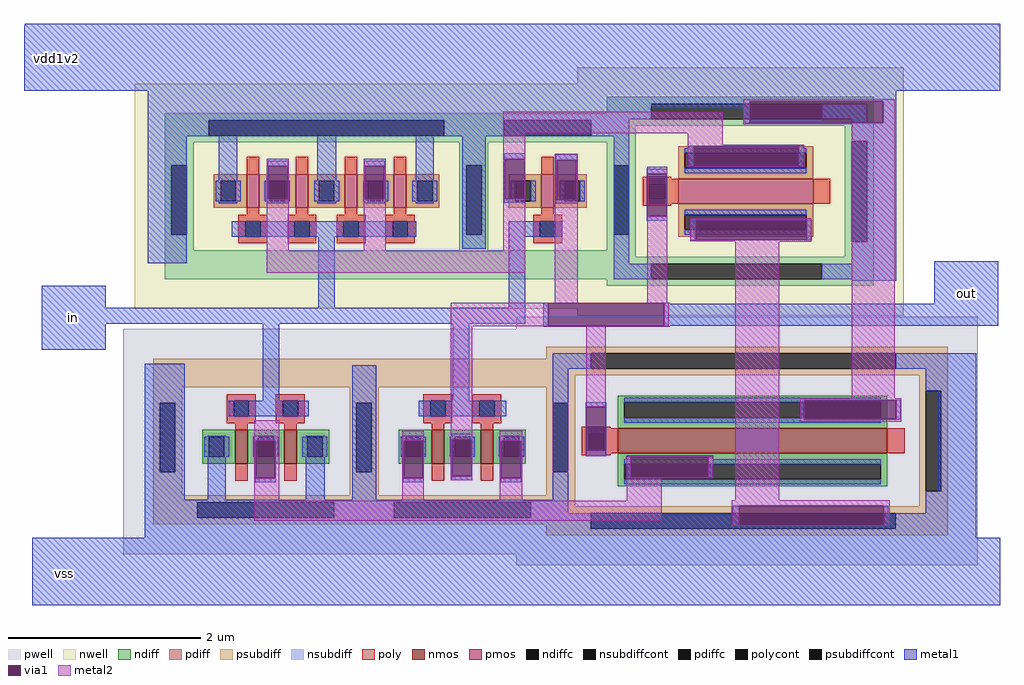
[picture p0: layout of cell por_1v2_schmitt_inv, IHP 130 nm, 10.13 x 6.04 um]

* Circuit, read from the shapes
.subckt por_1v2_schmitt_inv vdd1v2 in out vss
XM1 sg13_lv_nmos_GT3QPP_0/D in vss vss sg13_lv_nmos w=0.35u l=0.13u m=2
XM2 out in sg13_lv_nmos_GT3QPP_0/D vss sg13_lv_nmos w=0.35u l=0.13u m=2
XM3 vdd1v2 out sg13_lv_nmos_GT3QPP_0/D vss sg13_lv_nmos w=2.8u l=0.26u
XM4 sg13_lv_pmos_KE4EUN_0/D in vdd1v2 vdd1v2 sg13_lv_pmos w=0.35u l=0.13u m=4
XM5 out in sg13_lv_pmos_KE4EUN_0/D vdd1v2 sg13_lv_pmos w=0.35u l=0.13u
XM6 sg13_lv_pmos_KE4EUN_0/D out vss vdd1v2 sg13_lv_pmos w=1.4u l=0.26u
.ends

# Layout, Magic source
magic
tech ihp-sg13cmos5l
magscale 1 2
<< metal1 >>
rect 1058 206 3082 211
rect 1056 72 3082 206
rect 1313 50 2867 72
rect 1313 36 2563 50
rect 1313 -22 2312 36
rect 2552 6 2563 36
rect 2840 6 2867 50
rect 2552 5 2867 6
rect 1313 -286 1394 -22
rect 1460 -162 1499 -22
rect 1562 -85 1605 -73
rect 1562 -153 1563 -85
rect 1604 -153 1605 -85
rect 1562 -162 1605 -153
rect 1665 -162 1704 -22
rect 1762 -85 1805 -73
rect 1762 -153 1763 -85
rect 1804 -153 1805 -85
rect 1762 -162 1805 -153
rect 1869 -162 1907 -22
rect 1487 -231 1870 -199
rect 1093 -378 1226 -333
rect 1667 -378 1701 -231
rect 1966 -256 2014 -22
rect 2435 -43 2675 -42
rect 2053 -70 2097 -58
rect 2053 -152 2055 -70
rect 2095 -152 2097 -70
rect 2053 -161 2097 -152
rect 2160 -72 2204 -60
rect 2160 -154 2162 -72
rect 2202 -154 2204 -72
rect 2435 -85 2446 -43
rect 2664 -85 2675 -43
rect 2160 -163 2204 -154
rect 2349 -100 2391 -90
rect 2349 -189 2350 -100
rect 2390 -189 2391 -100
rect 2349 -198 2391 -189
rect 2439 -197 2691 -196
rect 2062 -231 2173 -199
rect 2062 -378 2096 -231
rect 2439 -237 2450 -197
rect 2681 -237 2691 -197
rect 2439 -238 2691 -237
rect 2774 -322 2867 5
rect 1093 -412 2096 -378
rect 2134 -369 2396 -368
rect 1093 -466 1226 -412
rect 1307 -777 1390 -495
rect 1552 -572 1586 -412
rect 1481 -604 1647 -572
rect 1437 -777 1475 -644
rect 1536 -655 1579 -644
rect 1536 -732 1537 -655
rect 1578 -732 1579 -655
rect 1536 -741 1579 -732
rect 1641 -777 1680 -644
rect 1737 -777 1787 -498
rect 1946 -572 1980 -412
rect 2134 -417 2144 -369
rect 2385 -370 2396 -369
rect 2945 -370 3078 -282
rect 2385 -416 3078 -370
rect 2385 -417 2396 -416
rect 2134 -418 2396 -417
rect 2665 -570 2876 -569
rect 1875 -604 2057 -572
rect 2222 -584 2265 -575
rect 1843 -655 1886 -644
rect 1843 -732 1844 -655
rect 1885 -732 1886 -655
rect 1843 -741 1886 -732
rect 1944 -651 1986 -640
rect 1944 -728 1945 -651
rect 1985 -728 1986 -651
rect 1944 -737 1986 -728
rect 2046 -655 2088 -644
rect 2046 -732 2047 -655
rect 2087 -732 2088 -655
rect 2222 -675 2223 -584
rect 2264 -675 2265 -584
rect 2665 -610 2676 -570
rect 2867 -610 2876 -570
rect 2665 -611 2876 -610
rect 2222 -687 2265 -675
rect 2305 -688 2486 -687
rect 2305 -730 2316 -688
rect 2476 -730 2486 -688
rect 2046 -741 2088 -732
rect 1307 -806 2160 -777
rect 2527 -790 2850 -789
rect 2527 -806 2541 -790
rect 1307 -830 2541 -806
rect 2841 -806 2850 -790
rect 2954 -806 3033 -473
rect 2841 -830 3033 -806
rect 1307 -856 3033 -830
rect 1073 -996 3082 -856
<< via1 >>
rect 2563 6 2840 50
rect 1563 -153 1604 -85
rect 1763 -153 1804 -85
rect 2055 -152 2095 -70
rect 2162 -154 2202 -72
rect 2446 -85 2664 -43
rect 2350 -189 2390 -100
rect 2450 -237 2681 -197
rect 1537 -732 1578 -655
rect 2144 -417 2385 -369
rect 1844 -732 1885 -655
rect 1945 -728 1985 -651
rect 2047 -732 2087 -655
rect 2223 -675 2264 -584
rect 2676 -610 2867 -570
rect 2316 -730 2476 -688
rect 2541 -830 2841 -790
<< metal2 >>
rect 2549 50 2864 54
rect 2051 -16 2506 28
rect 2549 6 2563 50
rect 2840 6 2864 50
rect 2549 2 2864 6
rect 1560 -85 1606 -69
rect 1560 -153 1563 -85
rect 1604 -153 1606 -85
rect 1560 -260 1606 -153
rect 1761 -85 1807 -69
rect 1761 -153 1763 -85
rect 1804 -153 1807 -85
rect 1761 -260 1807 -153
rect 2051 -70 2097 -16
rect 2434 -40 2506 -16
rect 2434 -43 2676 -40
rect 2051 -152 2055 -70
rect 2095 -152 2097 -70
rect 2051 -260 2097 -152
rect 1560 -306 2097 -260
rect 2158 -72 2205 -59
rect 2158 -154 2162 -72
rect 2202 -154 2205 -72
rect 2434 -85 2446 -43
rect 2664 -85 2676 -43
rect 2158 -368 2205 -154
rect 2350 -100 2391 -86
rect 2434 -87 2676 -85
rect 2390 -189 2391 -100
rect 2350 -368 2391 -189
rect 2439 -197 2690 -193
rect 2439 -237 2450 -197
rect 2681 -237 2690 -197
rect 2439 -240 2690 -237
rect 2532 -242 2690 -240
rect 1942 -369 2394 -368
rect 1942 -417 2144 -369
rect 2385 -417 2394 -369
rect 1534 -655 1586 -612
rect 1534 -732 1537 -655
rect 1578 -732 1586 -655
rect 1534 -779 1586 -732
rect 1841 -655 1886 -634
rect 1841 -732 1844 -655
rect 1885 -732 1886 -655
rect 1841 -779 1886 -732
rect 1942 -651 1987 -417
rect 2223 -584 2264 -417
rect 1942 -728 1945 -651
rect 1985 -728 1987 -651
rect 1942 -737 1987 -728
rect 2044 -655 2090 -634
rect 2044 -732 2047 -655
rect 2087 -732 2090 -655
rect 2223 -687 2264 -675
rect 2044 -779 2090 -732
rect 2307 -688 2487 -685
rect 2307 -730 2316 -688
rect 2476 -730 2487 -688
rect 2307 -732 2487 -730
rect 2307 -779 2380 -732
rect 2532 -778 2624 -242
rect 2774 -566 2864 2
rect 2667 -570 2877 -566
rect 2667 -610 2676 -570
rect 2867 -610 2877 -570
rect 2667 -615 2877 -610
rect 1534 -821 2380 -779
rect 2525 -790 2853 -778
rect 2525 -830 2541 -790
rect 2841 -830 2853 -790
rect 2525 -831 2853 -830
use sg13_lv_nmos_GT3QPP  sg13_lv_nmos_GT3QPP_0 primitives
transform 0 -1 2549 1 0 -655
box -258 -487 258 471
use sg13_lv_nmos_LT8DKY  sg13_lv_nmos_LT8DKY_0 primitives
transform 1 0 1558 0 1 -648
box -296 -242 296 226
use sg13_lv_nmos_LT8DKY  sg13_lv_nmos_LT8DKY_1
transform 1 0 1966 0 1 -648
box -296 -242 296 226
use sg13_lv_pmos_KE4EUN  sg13_lv_pmos_KE4EUN_0 primitives
transform 0 1 2535 -1 0 -137
box -258 -331 258 347
use sg13_lv_pmos_KPMAU6  sg13_lv_pmos_KPMAU6_0 primitives
transform 1 0 1684 0 1 -155
box -398 -226 398 242
use sg13_lv_pmos_RWAJH3  sg13_lv_pmos_RWAJH3_0 primitives
transform 1 0 2143 0 1 -155
box -245 -226 245 242
<< labels >>
flabel metal1 1093 -466 1226 -333 0 FreeSans 1066 0 0 0 in
port 1 nsew
flabel metal1 1074 -996 1207 -863 0 FreeSans 1066 0 0 0 vss
port 3 nsew
flabel metal1 1056 72 1189 206 0 FreeSans 1066 0 0 0 vdd1v2
port 0 nsew
flabel metal1 2945 -416 3078 -282 0 FreeSans 1066 0 0 0 out
port 2 nsew
<< end >>

# cell sg13_lv_nmos_GT3QPP: kit device sg13_lv_nmos, w 2.8 l 0.26 m 1 ng 1 diffcov 100 polycov 100 guard 1 glc 1 grc 1 gtc 0 gbc 1 tbcov 100 rlcov 100 topc 1 botc 0 poverlap 0 doverlap 1 lmin 0.13 wmin 0.15 class mosfet compatible {sg13_lv_nmos sg13_hv_nmos} full_metal 1 conn_gates 0 gate_ring 0 doports 1 viasrc 0 viadrn 0 viagate 0 ccols 1 viagb 0 viagr 0 viagl 0 viagt 0

# cell sg13_lv_nmos_LT8DKY: kit device sg13_lv_nmos, w 0.35 l 0.13 m 1 ng 2 diffcov 100 polycov 100 guard 1 glc 1 grc 1 gtc 0 gbc 1 tbcov 100 rlcov 100 topc 1 botc 0 poverlap 0 doverlap 1 lmin 0.13 wmin 0.15 class mosfet compatible {sg13_lv_nmos sg13_hv_nmos} full_metal 0 conn_gates 0 gate_ring 0 doports 1 viasrc 0 viadrn 0 viagate 0 ccols 1 viagb 0 viagr 0 viagl 0 viagt 0

# cell sg13_lv_pmos_KE4EUN: kit device sg13_lv_pmos, w 1.4 l 0.26 m 1 ng 1 diffcov 100 polycov 100 guard 1 glc 1 grc 1 gtc 1 gbc 0 tbcov 100 rlcov 100 topc 0 botc 1 poverlap 0 doverlap 1 lmin 0.13 wmin 0.15 class mosfet compatible {sg13_lv_pmos sg13_hv_pmos} full_metal 1 conn_gates 0 gate_ring 0 ccols 1 viasrc 0 viadrn 0 viagate 0 viagb 0 viagr 0 viagl 0 viagt 0 doports 1

# cell sg13_lv_pmos_KPMAU6: kit device sg13_lv_pmos, w 0.35 l 0.13 m 1 ng 4 diffcov 100 polycov 100 guard 1 glc 1 grc 1 gtc 1 gbc 0 tbcov 100 rlcov 100 topc 0 botc 1 poverlap 0 doverlap 1 lmin 0.13 wmin 0.15 class mosfet compatible {sg13_lv_pmos sg13_hv_pmos} full_metal 0 conn_gates 0 gate_ring 0 ccols 1 viasrc 0 viadrn 0 viagate 0 viagb 0 viagr 0 viagl 0 viagt 0 doports 1

# cell sg13_lv_pmos_RWAJH3: kit device sg13_lv_pmos, w 0.35 l 0.13 m 1 ng 1 diffcov 100 polycov 100 guard 1 glc 1 grc 1 gtc 1 gbc 0 tbcov 100 rlcov 100 topc 0 botc 1 poverlap 0 doverlap 1 lmin 0.13 wmin 0.15 class mosfet compatible {sg13_lv_pmos sg13_hv_pmos} full_metal 0 conn_gates 0 gate_ring 0 ccols 1 viasrc 0 viadrn 0 viagate 0 viagb 0 viagr 0 viagl 0 viagt 0 doports 1
